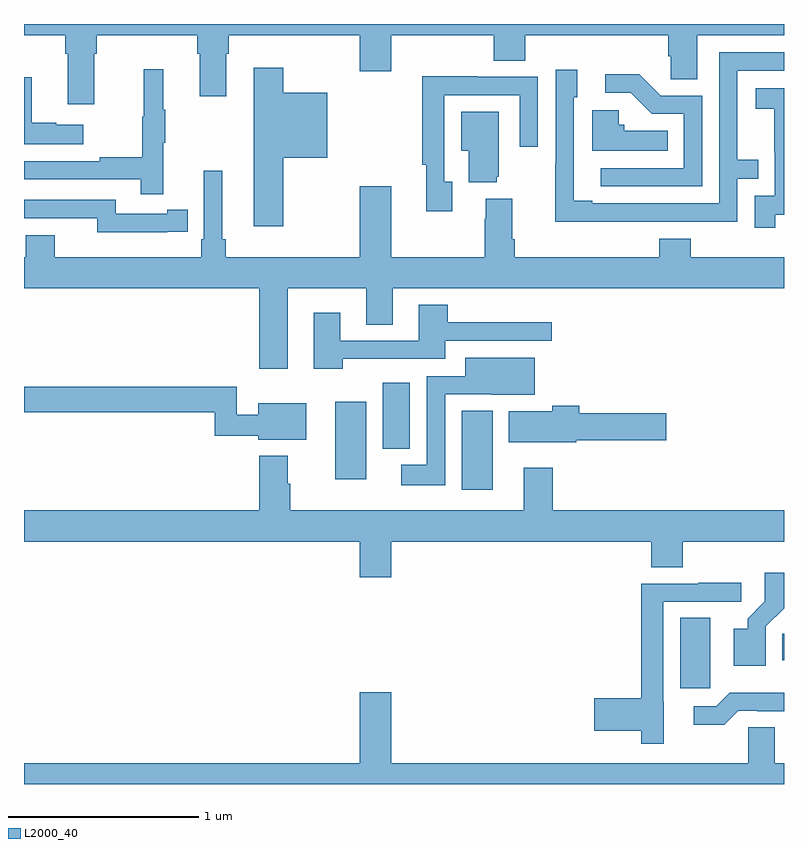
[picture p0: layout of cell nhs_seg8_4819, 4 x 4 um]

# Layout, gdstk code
import gdstk
lib = gdstk.Library(unit=1e-6, precision=1e-09)
def R(c, l, rs):  # rectangles x0, y0, x1, y1
    for r in rs: c.add(gdstk.rectangle(r[:2], r[2:], *l))
def P(c, l, *ps):  # polygons
    for p in ps: c.add(gdstk.Polygon(p, *l))
L2000_40 = (2000, 40)

nhs_seg8_4819 = lib.new_cell('nhs_seg8_4819')
R(nhs_seg8_4819, L2000_40, [(406.454,1106.403,406.612,1106.774), (406.99,1106.552,407,1106.69), (405.305,1107.45,405.466,1107.865), (404.639,1107.504,404.8,1107.913), (404.888,1107.665,405.031,1108.012)])
P(nhs_seg8_4819, L2000_40, [(403.369,1109.744),(403.382,1109.744),(403.382,1109.84),(403.913,1109.84),(403.913,1109.744),(403.925,1109.744),(403.925,1109.52),(404.065,1109.52),(404.065,1109.744),(404.078,1109.744),(404.078,1109.84),(404.768,1109.84),(404.768,1109.652),(404.932,1109.652),(404.932,1109.84),(405.473,1109.84),(405.473,1109.707),(405.638,1109.707),(405.638,1109.84),(406.391,1109.84),(406.391,1109.731),(406.404,1109.731),(406.404,1109.608),(406.543,1109.608),(406.543,1109.84),(407,1109.84),(407,1109.9),(403,1109.9),(403,1109.84),(403.217,1109.84),(403.217,1109.744),(403.229,1109.744),(403.229,1109.478),(403.369,1109.478)],
  [(406.259,1108.86),(406.755,1108.86),(406.755,1109.085),(406.865,1109.085),(406.865,1109.186),(406.755,1109.186),(406.755,1109.655),(407,1109.655),(407,1109.751),(406.659,1109.751),(406.659,1108.956),(405.991,1108.956),(405.991,1108.969),(405.894,1108.969),(405.894,1109.514),(405.913,1109.514),(405.913,1109.659),(405.798,1109.659),(405.798,1109.165),(405.796,1109.165),(405.796,1108.859),(406.259,1108.859)],
  [(404.364,1109.195),(404.596,1109.195),(404.596,1109.539),(404.364,1109.539),(404.364,1109.671),(404.21,1109.671),(404.21,1108.836),(404.364,1108.836)],
  [(403.733,1109.275),(403.744,1109.275),(403.744,1109.449),(403.733,1109.449),(403.733,1109.662),(403.63,1109.662),(403.63,1109.412),(403.623,1109.412),(403.623,1109.198),(403.399,1109.198),(403.399,1109.178),(403,1109.178),(403,1109.082),(403.615,1109.082),(403.615,1109.004),(403.733,1109.004)],
  [(406.569,1109.523),(406.35,1109.523),(406.237,1109.636),(406.059,1109.636),(406.059,1109.538),(406.193,1109.538),(406.304,1109.427),(406.473,1109.427),(406.473,1109.142),(406.035,1109.142),(406.035,1109.046),(406.569,1109.046)],
  [(405.253,1109.07),(405.213,1109.07),(405.213,1109.526),(405.609,1109.526),(405.609,1109.253),(405.705,1109.253),(405.705,1109.622),(405.389,1109.622),(405.389,1109.624),(405.097,1109.624),(405.097,1109.158),(405.116,1109.158),(405.116,1108.914),(405.253,1108.914)],
  [(403.312,1109.371),(403.169,1109.371),(403.169,1109.381),(403.042,1109.381),(403.042,1109.62),(403,1109.62),(403,1109.267),(403.312,1109.267)],
  [(406.954,1108.897),(407,1108.897),(407,1109.563),(406.851,1109.563),(406.851,1109.453),(406.949,1109.453),(406.949,1109.225),(406.95,1109.225),(406.95,1108.995),(406.845,1108.995),(406.845,1108.827),(406.954,1108.827)],
  [(406.388,1109.338),(406.158,1109.338),(406.158,1109.37),(406.131,1109.37),(406.131,1109.446),(405.992,1109.446),(405.992,1109.234),(406.388,1109.234)],
  [(405.488,1109.097),(405.499,1109.097),(405.499,1109.437),(405.302,1109.437),(405.302,1109.234),(405.341,1109.234),(405.341,1109.066),(405.488,1109.066)],
  [(404.389,1108.508),(404.801,1108.508),(404.801,1108.318),(404.941,1108.318),(404.941,1108.508),(407,1108.508),(407,1108.672),(406.508,1108.672),(406.508,1108.771),(406.343,1108.771),(406.343,1108.672),(405.584,1108.672),(405.584,1108.768),(405.571,1108.768),(405.571,1108.981),(405.431,1108.981),(405.431,1108.874),(405.424,1108.874),(405.424,1108.672),(404.932,1108.672),(404.932,1109.047),(404.768,1109.047),(404.768,1108.672),(404.063,1108.672),(404.063,1108.768),(404.044,1108.768),(404.044,1109.128),(403.947,1109.128),(403.947,1108.768),(403.934,1108.768),(403.934,1108.672),(403.162,1108.672),(403.162,1108.789),(403.01,1108.789),(403.01,1108.672),(403,1108.672),(403,1108.508),(404.237,1108.508),(404.237,1108.086),(404.389,1108.086)],
  [(403.754,1108.806),(403.862,1108.806),(403.862,1108.922),(403.754,1108.922),(403.754,1108.902),(403.482,1108.902),(403.482,1108.974),(403,1108.974),(403,1108.878),(403.386,1108.878),(403.386,1108.805),(403.754,1108.805)],
  [(404.678,1108.137),(405.217,1108.137),(405.217,1108.233),(405.778,1108.233),(405.778,1108.33),(405.23,1108.33),(405.23,1108.423),(405.077,1108.423),(405.077,1108.233),(404.665,1108.233),(404.665,1108.381),(404.525,1108.381),(404.525,1108.086),(404.678,1108.086)],
  [(405.216,1107.951),(405.462,1107.951),(405.462,1107.95),(405.688,1107.95),(405.688,1108.144),(405.323,1108.144),(405.323,1108.047),(405.12,1108.047),(405.12,1107.58),(404.985,1107.58),(404.985,1107.473),(405.216,1107.473)],
  [(404.485,1107.904),(404.234,1107.904),(404.234,1107.843),(404.121,1107.843),(404.121,1107.992),(403,1107.992),(403,1107.856),(404.005,1107.856),(404.005,1107.732),(404.234,1107.732),(404.234,1107.713),(404.485,1107.713)],
  [(405.906,1107.709),(406.381,1107.709),(406.381,1107.851),(405.923,1107.851),(405.923,1107.892),(405.781,1107.892),(405.781,1107.862),(405.551,1107.862),(405.551,1107.698),(405.906,1107.698)],
  [(404.932,1107.176),(406.301,1107.176),(406.301,1107.04),(406.466,1107.04),(406.466,1107.176),(407,1107.176),(407,1107.34),(405.782,1107.34),(405.782,1107.565),(405.629,1107.565),(405.629,1107.34),(404.402,1107.34),(404.402,1107.479),(404.389,1107.479),(404.389,1107.628),(404.237,1107.628),(404.237,1107.34),(403,1107.34),(403,1107.176),(404.768,1107.176),(404.768,1106.988),(404.932,1106.988)],
  [(406.905,1106.731),(407,1106.826),(407,1107.013),(406.899,1107.013),(406.899,1106.861),(406.808,1106.771),(406.808,1106.716),(406.736,1106.716),(406.736,1106.523),(406.905,1106.523)],
  [(406.366,1106.334),(406.365,1106.334),(406.365,1106.859),(406.774,1106.859),(406.774,1106.958),(406.549,1106.958),(406.549,1106.955),(406.249,1106.955),(406.249,1106.351),(406.002,1106.351),(406.002,1106.18),(406.249,1106.18),(406.249,1106.112),(406.366,1106.112)],
  [(406.758,1106.286),(406.858,1106.286),(406.858,1106.283),(407,1106.283),(407,1106.381),(406.715,1106.381),(406.644,1106.31),(406.524,1106.31),(406.524,1106.213),(406.685,1106.213)],
  [(406.812,1106.198),(406.812,1106.008),(404.932,1106.008),(404.932,1106.383),(404.768,1106.383),(404.768,1106.008),(403,1106.008),(403,1105.9),(407,1105.9),(407,1106.008),(406.951,1106.008),(406.951,1106.198)])

lib.write_gds('nhs_seg8_4819.gds')
